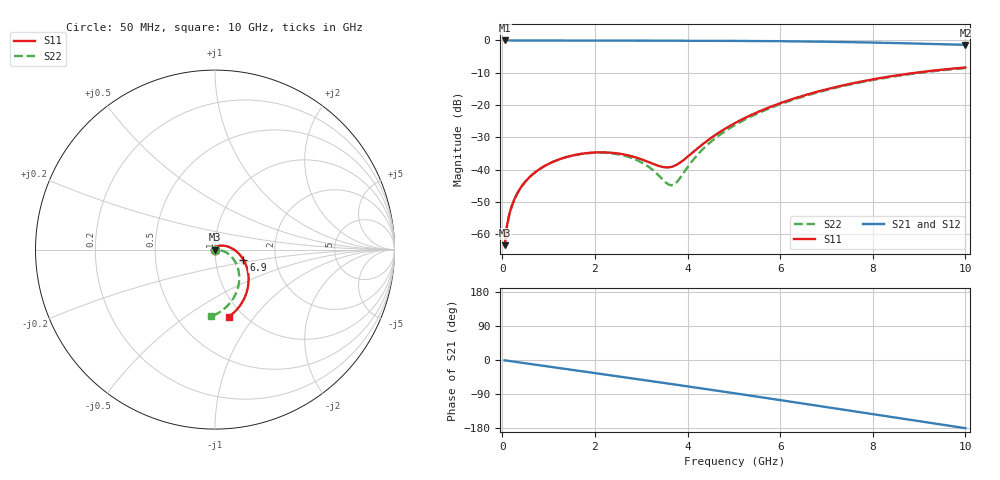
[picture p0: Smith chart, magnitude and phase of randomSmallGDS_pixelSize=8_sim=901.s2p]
! freq	dB(S11)	phase(S11)	dB(S12)	phase(S12)
!  dB(S21)	phase(S21)	dB(S22)	phase(S22)
!S-par simulation data
#  GHz  S  DB  R 50
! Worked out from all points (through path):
!   200 points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, 50 MHz to 10 GHz, reference 50 ohm
!   highest |S21| = 0.00 dB at 50 MHz (marker M1); lowest = -1.4 dB at 10 GHz (marker M2)
!   group delay of S21, straight-line fit = 50.1 ps
!   lowest |S11| = -63.5 dB at 50 MHz (marker M3), VSWR 1.00, Z = 50 - j0.0669 ohm
!   |S11| at or under -10 dB: start of sweep to 8.925 GHz
!   |S22| runs from -63.7 to -8.6 dB; largest |S21 - S12| = 0
!   S11 on the Smith chart (normalised r, x): 50 MHz: 1.00, -0.00; 6.9 GHz: 1.37, -0.16; 10 GHz: 0.86, -0.76
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0.05  -63.48 -88.7  -0.00 -0.9  -0.00 -0.9  -63.70 -89.3
0.1  -57.48 -91.0  -0.00 -1.7  -0.00 -1.7  -57.59 -91.4
0.2  -51.48 -93.7  -0.00 -3.5  -0.00 -3.5  -51.52 -93.3
0.35  -46.68 -97.3  -0.01 -6.1  -0.01 -6.1  -46.69 -95.7
0.5  -43.67 -100.6  -0.01 -8.7  -0.01 -8.7  -43.68 -98.0
0.75  -40.38 -106.2  -0.02 -13.0  -0.02 -13.0  -40.39 -102.0
1.05  -37.86 -112.9  -0.02 -18.2  -0.02 -18.2  -37.87 -106.6
1.75  -35.01 -129.4  -0.04 -30.2  -0.04 -30.2  -35.07 -116.8
2.25  -34.68 -143.1  -0.04 -38.9  -0.04 -38.9  -34.83 -122.9
2.7  -35.52 -158.9  -0.05 -46.7  -0.05 -46.7  -35.94 -126.3
3.1  -37.31 179.6  -0.06 -53.7  -0.06 -53.7  -38.53 -124.2
3.4  -38.95 152.2  -0.07 -59.0  -0.07 -59.0  -42.13 -110.5
3.6  -39.28 126.2  -0.07 -62.5  -0.07 -62.5  -44.67 -82.0
3.7  -38.92 112.1  -0.08 -64.2  -0.08 -64.2  -44.66 -60.4
4.35  -31.88 51.2  -0.10 -75.8  -0.10 -75.8  -33.37 -8.1
5.05  -25.38 23.9  -0.14 -88.4  -0.14 -88.4  -25.97 -10.8
5.8  -20.50 4.4  -0.21 -102.1  -0.21 -102.1  -20.85 -20.9
6.7  -16.27 -15.4  -0.34 -118.8  -0.34 -118.8  -16.52 -35.5
6.9  -15.50 -19.6  -0.38 -122.5  -0.38 -122.5  -15.73 -38.9
8.35  -11.20 -48.1  -0.76 -149.6  -0.76 -149.6  -11.39 -64.3
9.15  -9.60 -63.0  -1.03 -164.4  -1.03 -164.4  -9.78 -78.5
10  -8.37 -78.1  -1.36 -179.9  -1.36 -179.9  -8.56 -93.5
